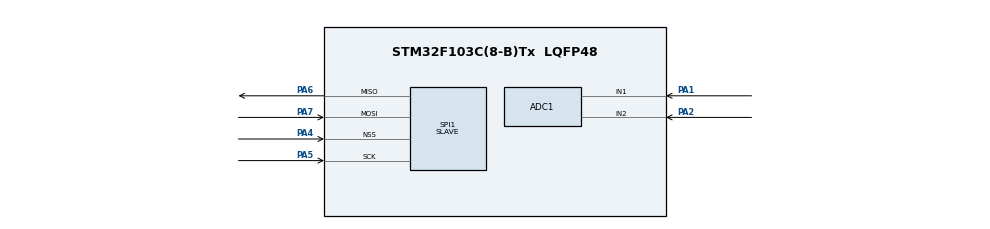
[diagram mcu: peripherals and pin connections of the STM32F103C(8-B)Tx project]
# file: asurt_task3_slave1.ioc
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ADC1.Channel-0\#ChannelRegularConversion=ADC_CHANNEL_1
ADC1.NbrOfConversionFlag=1
ADC1.Rank-0\#ChannelRegularConversion=1
ADC1.SamplingTime-0\#ChannelRegularConversion=ADC_SAMPLETIME_55CYCLES_5
ADC1.master=1
Mcu.Family=STM32F1
Mcu.Name=STM32F103C(8-B)Tx
Mcu.Package=LQFP48
NVIC.PriorityGroup=NVIC_PRIORITYGROUP_4
PA1.GPIO_Mode=GPIO_MODE_ANALOG
PA1.Signal=SharedAnalog_PA1
PA13.Mode=Serial_Wire
PA13.Signal=SYS_JTMS-SWDIO
PA14.Mode=Serial_Wire
PA14.Signal=SYS_JTCK-SWCLK
PA2.GPIO_Mode=GPIO_MODE_ANALOG
PA2.Signal=SharedAnalog_PA2
PA4.Mode=NSS_Signal_Hard_Input
PA4.Signal=SPI1_NSS
PA5.Mode=Full_Duplex_Slave
PA5.Signal=SPI1_SCK
PA6.Mode=Full_Duplex_Slave
PA6.Signal=SPI1_MISO
PA7.Mode=Full_Duplex_Slave
PA7.Signal=SPI1_MOSI
ProjectManager.HeapSize=0x200
ProjectManager.StackSize=0x400
ProjectManager.TargetToolchain=STM32CubeIDE
RCC.ADCPresc=RCC_ADCPCLK2_DIV8
RCC.APB1Freq_Value=8000000
RCC.APB2Freq_Value=8000000
SH.SharedAnalog_PA1.0=GPIO_Analog
SH.SharedAnalog_PA1.1=ADC1_IN1,IN1
SH.SharedAnalog_PA2.0=GPIO_Analog
SH.SharedAnalog_PA2.1=ADC1_IN2,IN2
SPI1.Direction=SPI_DIRECTION_2LINES
SPI1.Mode=SPI_MODE_SLAVE
SPI1.VirtualNSS=VM_NSSHARD
SPI1.VirtualType=VM_SLAVE
board=custom

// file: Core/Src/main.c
/* USER CODE BEGIN Header */
/**
  ******************************************************************************
  * @file           : main.c slave1
  * @brief          : Main program body
  ******************************************************************************
  * @attention
  *
  * Copyright (c) 2025 STMicroelectronics.
  * All rights reserved.
  *
  * This software is licensed under terms that can be found in the LICENSE file
  * in the root directory of this software component.
  * If no LICENSE file comes with this software, it is provided AS-IS.
  *
  ******************************************************************************
  */
/* USER CODE END Header */
#include "main.h"

ADC_HandleTypeDef hadc1;

SPI_HandleTypeDef hspi1;

void SystemClock_Config(void);
static void MX_GPIO_Init(void);
static void MX_SPI1_Init(void);
static void MX_ADC1_Init(void);

/* USER CODE BEGIN 0 */
	uint16_t adc_get_value_channel(int channel_num){
	    ADC_ChannelConfTypeDef sConfig = {0};

	    if (channel_num == 1)
	        sConfig.Channel = ADC_CHANNEL_1; // throttle
	    else
	        sConfig.Channel = ADC_CHANNEL_2; // engine temp

	    sConfig.Rank = ADC_REGULAR_RANK_1;
	    sConfig.SamplingTime = ADC_SAMPLETIME_239CYCLES_5;

	    if (HAL_ADC_ConfigChannel(&hadc1, &sConfig) != HAL_OK)
	        return 0;

	    HAL_ADC_Start(&hadc1);
	    HAL_ADC_PollForConversion(&hadc1, HAL_MAX_DELAY);

	    uint16_t adc_value = HAL_ADC_GetValue(&hadc1);
	    HAL_ADC_Stop(&hadc1);

	    return adc_value;
	}

	void pack_data(uint8_t *txbuffer, uint8_t *rxbuffer, uint16_t engine_temp, uint16_t throttle_pos)
	{

	    uint64_t combined_data = ((uint64_t)rxbuffer[0] << 32) |
                				 ((uint64_t)rxbuffer[1] << 24) |
								 ((uint64_t)(engine_temp & 0xFFF) << 12) |
								 ((uint64_t)(throttle_pos & 0xFF) << 4);

	    txbuffer[0] = (uint8_t)(combined_data >> 32);
	    txbuffer[1] = (uint8_t)(combined_data >> 24);
	    txbuffer[2] = (uint8_t)(combined_data >> 16);
	    txbuffer[3] = (uint8_t)(combined_data >> 8);
	    txbuffer[4] = (uint8_t)(combined_data);
	}

/* USER CODE END 0 */

int main(void)
{

  /* MCU Configuration--------------------------------------------------------*/

  /* Reset of all peripherals, Initializes the Flash interface and the Systick. */
  HAL_Init();

  /* Configure the system clock */
  SystemClock_Config();

  /* Initialize all configured peripherals */
  MX_GPIO_Init();
  MX_SPI1_Init();
  MX_ADC1_Init();
  /* USER CODE BEGIN 2 */
  hspi1.Init.NSS = SPI_NSS_HARD_INPUT;
  HAL_SPI_Init(&hspi1);

  uint8_t rxbuffer[8] = {0};
  uint8_t txbuffer[8] = {0};

  /* USER CODE END 2 */

  /* Infinite loop */
  /* USER CODE BEGIN WHILE */
  while (1)
  {
	  uint16_t throttle_pos = adc_get_value_channel(1);
	  uint16_t engine_temp = adc_get_value_channel(2);

	  HAL_SPI_TransmitReceive(&hspi1, txbuffer, rxbuffer,8, HAL_MAX_DELAY);

	  uint16_t scaled_throttle = (uint16_t)((float)throttle_pos / 4095.0f * 256.0f);

	  pack_data(txbuffer, rxbuffer, engine_temp, scaled_throttle);

    /* USER CODE END WHILE */

  }
}

void SystemClock_Config(void)
{
  RCC_OscInitTypeDef RCC_OscInitStruct = {0};
  RCC_ClkInitTypeDef RCC_ClkInitStruct = {0};
  RCC_PeriphCLKInitTypeDef PeriphClkInit = {0};

  /** Initializes the RCC Oscillators according to the specified parameters
  * in the RCC_OscInitTypeDef structure.
  */
  RCC_OscInitStruct.OscillatorType = RCC_OSCILLATORTYPE_HSI;
  RCC_OscInitStruct.HSIState = RCC_HSI_ON;
  RCC_OscInitStruct.HSICalibrationValue = RCC_HSICALIBRATION_DEFAULT;
  RCC_OscInitStruct.PLL.PLLState = RCC_PLL_NONE;
  if (HAL_RCC_OscConfig(&RCC_OscInitStruct) != HAL_OK)
  {
    Error_Handler();
  }

  /** Initializes the CPU, AHB and APB buses clocks
  */
  RCC_ClkInitStruct.ClockType = RCC_CLOCKTYPE_HCLK|RCC_CLOCKTYPE_SYSCLK
                              |RCC_CLOCKTYPE_PCLK1|RCC_CLOCKTYPE_PCLK2;
  RCC_ClkInitStruct.SYSCLKSource = RCC_SYSCLKSOURCE_HSI;
  RCC_ClkInitStruct.AHBCLKDivider = RCC_SYSCLK_DIV1;
  RCC_ClkInitStruct.APB1CLKDivider = RCC_HCLK_DIV1;
  RCC_ClkInitStruct.APB2CLKDivider = RCC_HCLK_DIV1;

  if (HAL_RCC_ClockConfig(&RCC_ClkInitStruct, FLASH_LATENCY_0) != HAL_OK)
  {
    Error_Handler();
  }
  PeriphClkInit.PeriphClockSelection = RCC_PERIPHCLK_ADC;
  PeriphClkInit.AdcClockSelection = RCC_ADCPCLK2_DIV8;
  if (HAL_RCCEx_PeriphCLKConfig(&PeriphClkInit) != HAL_OK)
  {
    Error_Handler();
  }
}

static void MX_ADC1_Init(void)
{

  ADC_ChannelConfTypeDef sConfig = {0};

  /** Common config
  */
  hadc1.Instance = ADC1;
  hadc1.Init.ScanConvMode = ADC_SCAN_DISABLE;
  hadc1.Init.ContinuousConvMode = DISABLE;
  hadc1.Init.DiscontinuousConvMode = DISABLE;
  hadc1.Init.ExternalTrigConv = ADC_SOFTWARE_START;
  hadc1.Init.DataAlign = ADC_DATAALIGN_RIGHT;
  hadc1.Init.NbrOfConversion = 1;
  if (HAL_ADC_Init(&hadc1) != HAL_OK)
  {
    Error_Handler();
  }

  /** Configure Regular Channel
  */
  sConfig.Channel = ADC_CHANNEL_1;
  sConfig.Rank = ADC_REGULAR_RANK_1;
  sConfig.SamplingTime = ADC_SAMPLETIME_55CYCLES_5;
  if (HAL_ADC_ConfigChannel(&hadc1, &sConfig) != HAL_OK)
  {
    Error_Handler();
  }

}

static void MX_SPI1_Init(void)
{

  /* SPI1 parameter configuration*/
  hspi1.Instance = SPI1;
  hspi1.Init.Mode = SPI_MODE_SLAVE;
  hspi1.Init.Direction = SPI_DIRECTION_2LINES;
  hspi1.Init.DataSize = SPI_DATASIZE_8BIT;
  hspi1.Init.CLKPolarity = SPI_POLARITY_LOW;
  hspi1.Init.CLKPhase = SPI_PHASE_1EDGE;
  hspi1.Init.NSS = SPI_NSS_HARD_INPUT;
  hspi1.Init.FirstBit = SPI_FIRSTBIT_MSB;
  hspi1.Init.TIMode = SPI_TIMODE_DISABLE;
  hspi1.Init.CRCCalculation = SPI_CRCCALCULATION_DISABLE;
  hspi1.Init.CRCPolynomial = 10;
  if (HAL_SPI_Init(&hspi1) != HAL_OK)
  {
    Error_Handler();
  }

}

static void MX_GPIO_Init(void)
{

  /* GPIO Ports Clock Enable */
  __HAL_RCC_GPIOA_CLK_ENABLE();

}

void Error_Handler(void)
{
  __disable_irq();
  while (1)
  {
  }
}
